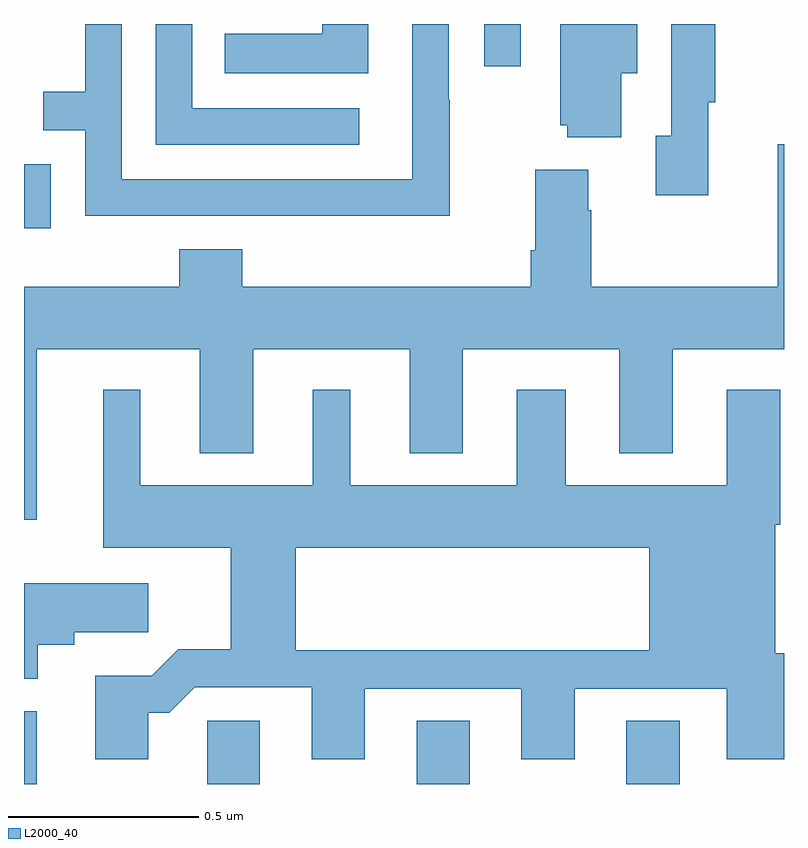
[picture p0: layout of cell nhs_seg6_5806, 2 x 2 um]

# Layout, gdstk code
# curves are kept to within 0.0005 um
import gdstk
lib = gdstk.Library(unit=1e-6, precision=1e-09)
def R(c, l, rs):  # rectangles x0, y0, x1, y1
    for r in rs: c.add(gdstk.rectangle(r[:2], r[2:], *l))
def P(c, l, *ps):  # polygons
    for p in ps: c.add(gdstk.Polygon(p, *l))
L2000_40 = (2000, 40)

nhs_seg6_5806 = lib.new_cell('nhs_seg6_5806')
R(nhs_seg6_5806, L2000_40, [(187,971.5,187.033,971.692), (187.482,971.5,187.621,971.666), (188.033,971.5,188.173,971.666), (188.585,971.5,188.725,971.666), (187,972.963,187.071,973.131), (188.211,973.389,188.307,973.5)])
P(nhs_seg6_5806, L2000_40, [(187.906,973.5),(187.785,973.5),(187.785,973.474),(187.528,973.474),(187.528,973.37),(187.906,973.37)],
  [(188.572,973.37),(188.614,973.37),(188.614,973.5),(188.411,973.5),(188.411,973.233),(188.429,973.233),(188.429,973.202),(188.572,973.202)],
  [(188.801,973.294),(188.819,973.294),(188.819,973.5),(188.703,973.5),(188.703,973.206),(188.663,973.206),(188.663,973.05),(188.801,973.05)],
  [(187.882,973.278),(187.443,973.278),(187.443,973.5),(187.347,973.5),(187.347,973.182),(187.882,973.182)],
  [(188.121,973.301),(188.118,973.301),(188.118,973.5),(188.022,973.5),(188.022,973.092),(187.257,973.092),(187.257,973.5),(187.161,973.5),(187.161,973.322),(187.051,973.322),(187.051,973.221),(187.161,973.221),(187.161,972.996),(187.657,972.996),(187.657,972.995),(188.121,972.995)],
  [(187.033,972.644),(187.463,972.644),(187.463,972.371),(187.603,972.371),(187.603,972.644),(188.015,972.644),(188.015,972.371),(188.155,972.371),(188.155,972.644),(188.567,972.644),(188.567,972.371),(188.707,972.371),(188.707,972.644),(189,972.644),(189,973.183),(188.984,973.183),(188.984,972.808),(188.493,972.808),(188.493,973.01),(188.485,973.01),(188.485,973.117),(188.345,973.117),(188.345,972.904),(188.333,972.904),(188.333,972.808),(187.574,972.808),(187.574,972.907),(187.409,972.907),(187.409,972.808),(187,972.808),(187,972.195),(187.033,972.195)],
  [(187.187,971.785),(187.187,971.565),(187.327,971.565),(187.327,971.687),(187.382,971.687),(187.449,971.754),(187.757,971.754),(187.757,971.565),(187.897,971.565),(187.897,971.751),(188.309,971.751),(188.309,971.565),(188.449,971.565),(188.449,971.751),(188.849,971.751),(188.849,971.565),(189,971.565),(189,971.844),(188.977,971.844),(188.977,972.182),(188.99,972.182),(188.99,972.538),(188.849,972.538),(188.849,972.286),(188.425,972.286),(188.425,972.538),(188.297,972.538),(188.297,972.286),(187.858,972.286),(187.858,972.538),(187.76,972.538),(187.76,972.286),(187.306,972.286),(187.306,972.538),(187.208,972.538),(187.208,972.122),(187.544,972.122),(187.544,971.855),(187.406,971.855),(187.403,971.852),(187.715,971.852),(187.715,972.122),(188.645,972.122),(188.645,971.852),(187.403,971.852),(187.336,971.785)],
  [(187.036,971.867),(187.132,971.867),(187.132,971.899),(187.327,971.899),(187.327,972.028),(187,972.028),(187,971.777),(187.036,971.777)])

lib.write_gds('nhs_seg6_5806.gds')
